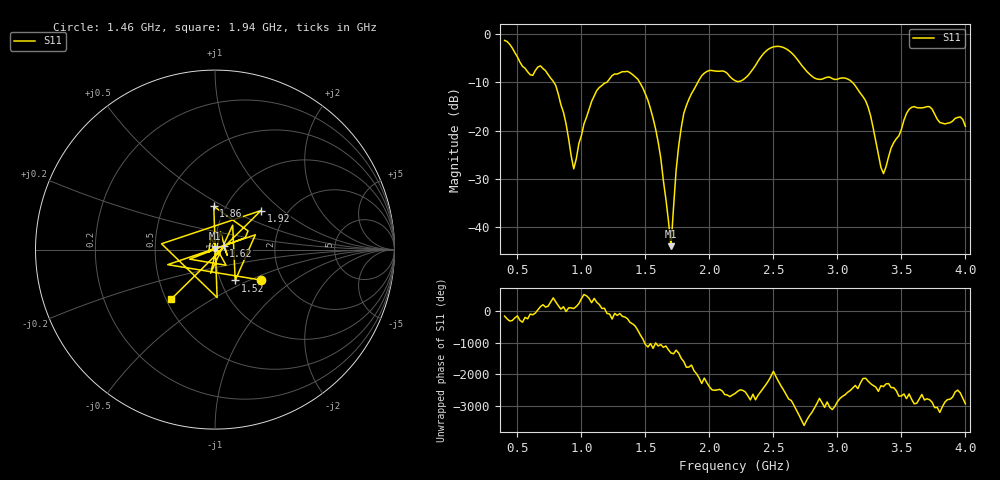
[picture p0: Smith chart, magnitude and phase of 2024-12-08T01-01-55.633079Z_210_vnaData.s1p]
!Created with skrf (http://scikit-rf.org).
# Hz S RI R 50.0
!freq ReS11 ImS11
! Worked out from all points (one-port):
!   181 points, 400 MHz to 4 GHz, reference 50 ohm
!   lowest |S11| = -44.0 dB at 1.7 GHz (marker M1), VSWR 1.01, Z = 49.7 + j0.573 ohm
!   |S11| at or under -10 dB: 784.9 MHz to 1.198 GHz (413.3 MHz wide, 41.7 % of centre); 1.455 GHz to 1.909 GHz (454.2 MHz wide, 27 % of centre); 3.117 GHz to end of sweep
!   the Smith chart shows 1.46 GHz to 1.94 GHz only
!   S11 on the Smith chart (normalised r, x): 1.46 GHz: 1.56, -0.59; 1.52 GHz: 1.17, -0.42; 1.62 GHz: 1.10, +0.04; 1.86 GHz: 0.88, +0.45; 1.92 GHz: 1.48, +0.72; 1.94 GHz: 0.53, -0.34
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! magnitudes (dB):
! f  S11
! 400 MHz  -1.3
! 600 MHz  -8.4
! 720 MHz  -7.6
! 800 MHz  -10.7
! 860 MHz  -16.2
! 940 MHz  -28.0
! 1.02 GHz  -18.6
! 1.12 GHz  -11.7
! 1.3 GHz  -8.0
! 1.46 GHz  -10.2
! 1.52 GHz  -13.7
! 1.62 GHz  -25.7
! 1.7 GHz  -44.0
! 1.74 GHz  -28.3
! 1.76 GHz  -23.2
! 1.8 GHz  -16.4
! 1.86 GHz  -12.4
! 1.92 GHz  -9.5
! 1.94 GHz  -8.6
! 2.2 GHz  -9.6
! 2.48 GHz  -2.8
! 2.66 GHz  -4.4
! 2.82 GHz  -9.1
! 3.1 GHz  -9.6
! 3.24 GHz  -15.1
! 3.36 GHz  -28.9
! 3.56 GHz  -15.6
! 4 GHz  -19.1
